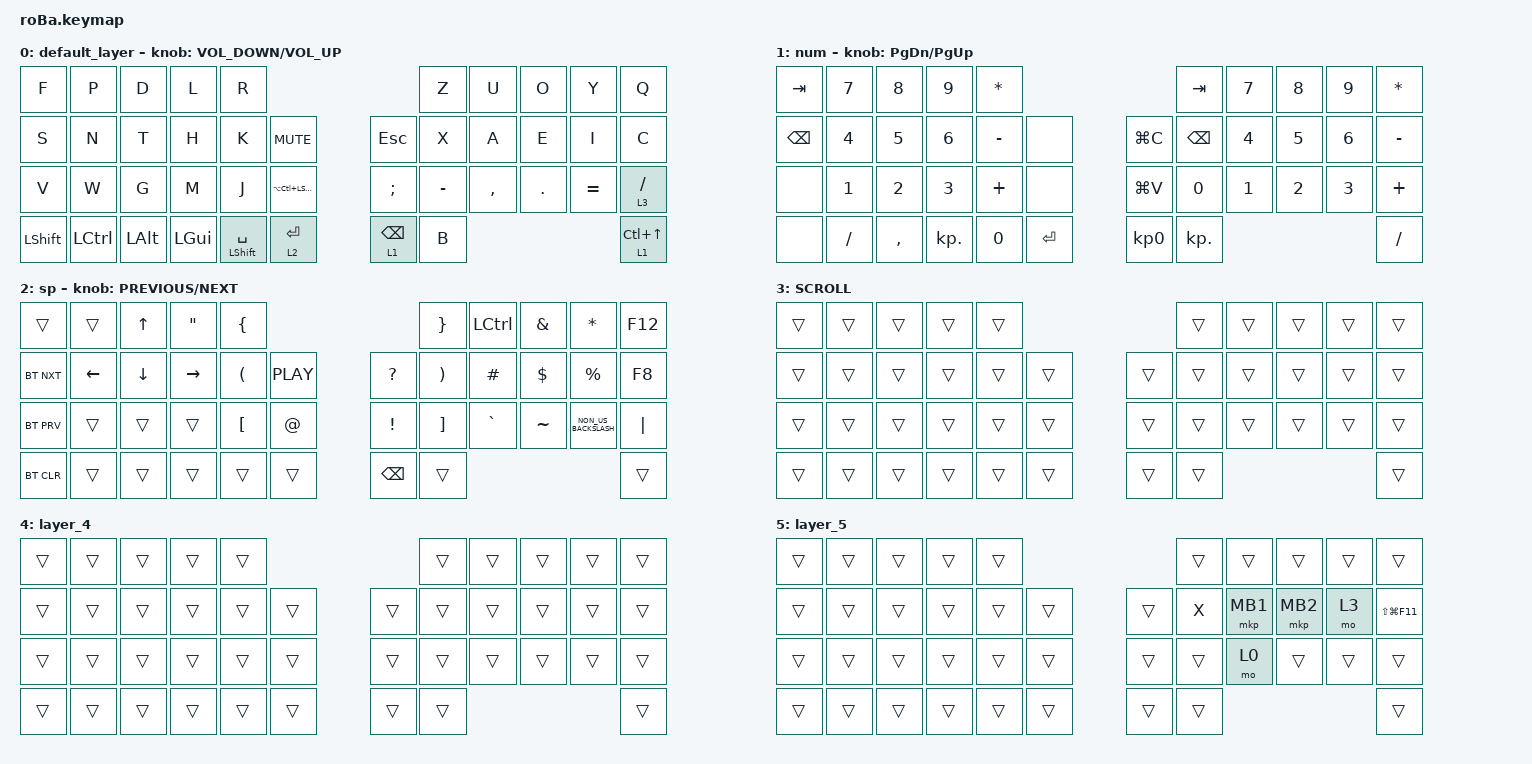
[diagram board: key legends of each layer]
#include <behaviors.dtsi>
#include <dt-bindings/zmk/bt.h>
#include <dt-bindings/zmk/keys.h>
#include <dt-bindings/zmk/pointing.h>

&mt {
    flavor = "balanced";
    quick-tap-ms = <0>;
};

&trackball {
    // automouse-layer = <4>;
    // scroll-layers = <3>;
    // arrows {
    //     layers = <3>;
    //     bindings =
    //         <&kp RIGHT_ARROW>,
    //         <&kp LEFT_ARROW>,
    //         <&kp UP_ARROW>,
    //         <&kp DOWN_ARROW>;
    //     tick = <10>;
    //     wait-ms = <5>;
    //     tap-ms = <5>;
    // };
};

/ {
    combos {
        compatible = "zmk,combos";

        CTRL+SHIFT {
            bindings = <&kp LC(LEFT_SHIFT)>;
            key-positions = <1 2>;
        };

        CTRL {
            bindings = <&kp LCTRL>;
            key-positions = <0 1>;
        };

        Sleep {
            bindings = <&kp LG(LS(F14))>;
            key-positions = <0 1 2 3 4>;
        };

        CtrlX {
            bindings = <&kp LC(X)>;
            key-positions = <17 20>;
        };

        Apos {
            bindings = <&kp SQT>;
            key-positions = <30 31>;
        };

        EscapeLeft {
            bindings = <&kp ESCAPE>;
            key-positions = <27 26>;
        };
    };

    macros {
        to_layer_0: to_layer_0 {
            compatible = "zmk,behavior-macro-one-param";
            #binding-cells = <1>;
            bindings = <&to 0 &macro_param_1to1 &kp MACRO_PLACEHOLDER>;
            label = "TO_LAYER_0";
        };
    };

    behaviors {
        lt_to_layer_0: lt_to_layer_0 {
            compatible = "zmk,behavior-hold-tap";
            label = "LAYER_TAP_TO_0";
            bindings = <&mo>, <&to_layer_0>;

            #binding-cells = <2>;
            tapping-term-ms = <200>;
        };

        holdshift: holdshift {
            compatible = "zmk,behavior-hold-tap";
            label = "HOLDSHIFT";
            bindings = <&kp>, <&kp>;

            #binding-cells = <2>;
            retro-tap;
            tapping-term-ms = <100>;
            flavor = "hold-preferred";
        };
    };

    keymap {
        compatible = "zmk,keymap";

        default_layer {
            bindings = <
&kp F           &kp P      &kp D         &kp L         &kp R                                                                     &kp Z      &kp U      &kp O       &kp Y      &kp Q
&kp S           &kp N      &kp T         &kp H         &kp K                        &kp C_MUTE                  &kp ESCAPE       &kp X      &kp A      &kp E       &kp I      &kp C
&kp V           &kp W      &kp G         &kp M         &kp J                        &kp LA(LC(LEFT_SHIFT))      &kp SEMICOLON    &kp MINUS  &kp COMMA  &kp PERIOD  &kp EQUAL  &lt 3 FSLH
&kp LEFT_SHIFT  &kp LCTRL  &kp LEFT_ALT  &kp LEFT_GUI  &holdshift LEFT_SHIFT SPACE  &lt 2 ENTER                 &lt 1 BACKSPACE  &kp B                                        &lt 1 LC(UP_ARROW)
            >;

            sensor-bindings = <&inc_dec_kp C_VOLUME_DOWN C_VOLUME_UP>;
        };

        num {
            bindings = <
&kp TAB   &kp N7     &kp N8     &kp N9      &kp ASTERISK                                  &kp TAB     &kp N7  &kp N8  &kp N9  &kp ASTERISK
&kp BSPC  &kp N4     &kp N5     &kp N6      &kp MINUS     &none          &kp LG(C)        &kp BSPC    &kp N4  &kp N5  &kp N6  &kp MINUS
&none     &kp N1     &kp N2     &kp N3      &kp PLUS      &none          &kp LG(V)        &kp N0      &kp N1  &kp N2  &kp N3  &kp PLUS
&none     &kp SLASH  &kp COMMA  &kp KP_DOT  &kp N0        &kp ENTER      &kp KP_NUMBER_0  &kp KP_DOT                          &kp SLASH
            >;

            sensor-bindings = <&inc_dec_kp PAGE_DOWN PAGE_UP>;
        };

        sp {
            bindings = <
&trans      &trans    &kp UP_ARROW  &kp DOUBLE_QUOTES  &kp LEFT_BRACE                                          &kp RIGHT_BRACE        &kp LCTRL  &kp AMPERSAND  &kp ASTERISK          &kp F12
&bt BT_NXT  &kp LEFT  &kp DOWN      &kp RIGHT          &kp LEFT_PARENTHESIS  &kp C_PLAY       &kp QUESTION     &kp RIGHT_PARENTHESIS  &kp HASH   &kp DOLLAR     &kp PERCENT           &kp F8
&bt BT_PRV  &trans    &trans        &trans             &kp LEFT_BRACKET      &kp AT_SIGN      &kp EXCLAMATION  &kp RIGHT_BRACKET      &kp GRAVE  &kp TILDE      &kp NON_US_BACKSLASH  &kp PIPE
&bt BT_CLR  &trans    &trans        &trans             &trans                &trans           &kp BACKSPACE    &trans                                                                 &trans
            >;

            sensor-bindings = <&inc_dec_kp C_PREVIOUS C_NEXT>;
        };

        SCROLL {
            bindings = <
&trans  &trans  &trans  &trans  &trans                      &trans  &trans  &trans  &trans  &trans
&trans  &trans  &trans  &trans  &trans  &trans      &trans  &trans  &trans  &trans  &trans  &trans
&trans  &trans  &trans  &trans  &trans  &trans      &trans  &trans  &trans  &trans  &trans  &trans
&trans  &trans  &trans  &trans  &trans  &trans      &trans  &trans                          &trans
            >;
        };

        layer_4 {
            bindings = <
&trans  &trans  &trans  &trans  &trans                      &trans  &trans  &trans  &trans  &trans
&trans  &trans  &trans  &trans  &trans  &trans      &trans  &trans  &trans  &trans  &trans  &trans
&trans  &trans  &trans  &trans  &trans  &trans      &trans  &trans  &trans  &trans  &trans  &trans
&trans  &trans  &trans  &trans  &trans  &trans      &trans  &trans                          &trans
            >;
        };

        layer_5 {
            bindings = <
&trans  &trans  &trans  &trans  &trans                      &trans  &trans    &trans    &trans  &trans
&trans  &trans  &trans  &trans  &trans  &trans      &trans  &kp X   &mkp MB1  &mkp MB2  &mo 3   &kp LS(LG(F11))
&trans  &trans  &trans  &trans  &trans  &trans      &trans  &trans  &mo 0     &trans    &trans  &trans
&trans  &trans  &trans  &trans  &trans  &trans      &trans  &trans                              &trans
            >;
        };
    };
};
